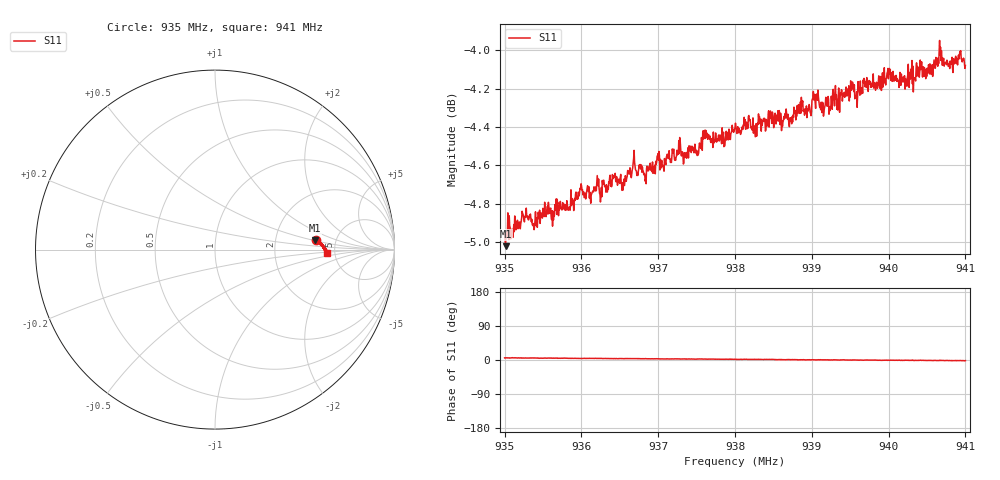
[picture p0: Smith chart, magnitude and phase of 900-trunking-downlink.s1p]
! Calibrated averaged scanner-service zoom
# Hz S RI R 50
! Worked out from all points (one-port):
!   1001 points, 935 MHz to 941 MHz, reference 50 ohm
!   lowest |S11| = -5.0 dB at 935.012 MHz (marker M1), VSWR 3.56, Z = 174 + j25.9 ohm
!   |S11| at or under -10 dB: nowhere
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9.35e8  0.5633 0.0555
9.35012e8  0.5587 0.0511
9.3512e8  0.5654 0.0574
9.35252e8  0.5677 0.052
9.35396e8  0.567 0.0543
9.35474e8  0.5702 0.0491
9.35582e8  0.5713 0.0516
9.3575e8  0.5714 0.0474
9.35984e8  0.5796 0.0393
9.36122e8  0.574 0.0429
9.365e8  0.5812 0.0391
9.36686e8  0.593 0.0371
9.36818e8  0.585 0.0348
9.37076e8  0.5862 0.0266
9.3725e8  0.5918 0.0304
9.38e8  0.6019 0.0214
9.38462e8  0.6082 0.014
9.38642e8  0.6055 0.00553
9.3875e8  0.6042 0.0122
9.38966e8  0.6107 0.0048
9.3905e8  0.6094 0.00153
9.39146e8  0.6111 0.00313
9.395e8  0.6135 -0.00183
9.4001e8  0.6241 -0.00979
9.4025e8  0.6217 -0.00597
9.40556e8  0.6217 -0.0137
9.40688e8  0.6307 -0.0109
9.41e8  0.625 -0.0182
